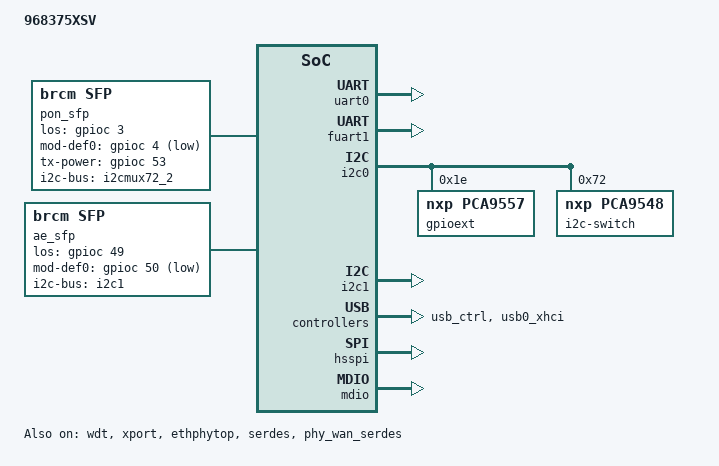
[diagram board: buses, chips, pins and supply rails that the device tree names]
#include "inc/68375.dtsi"
/ {
        memory_controller {
                memcfg = <(BP1_DDR_MCBSEL_FORMAT_VER1   | \
                           BP1_DDR_TYPE_LPDDR4         | \
                           BP1_DDR_SPEED_2133_36_39_39 | \
                           BP1_DDR_WIDTH_32BIT         | \
                           BP1_DDR_TOTAL_SIZE_16Gb      | \
                           BP1_DDR_SSC_CONFIG_1 )>;
        };
};

/ {
    model = "968375XSV";

    pon_sfp: pon_sfp {
        pinctrl-names = "default", "tx-sd";
        xpinctrl-0 = <&wan0_lbe_pin_30>;
        xpinctrl-1 = <&wan0_lbe_pin_30 &rogue_onu_in0_pin_27>;
        compatible = "brcm,sfp";
        i2c-bus = <&i2cmux72_2>;
        los-gpio = <&gpioc 3 GPIO_ACTIVE_HIGH>;
        mod-def0-gpio = <&gpioc 4 GPIO_ACTIVE_LOW>;
        tx-power-gpio = <&gpioc 53 GPIO_ACTIVE_HIGH>;
        //tx-power-down-gpio = <&gpioc 52 GPIO_ACTIVE_HIGH>;
        //rx-power-gpio = <&gpioc 6 GPIO_ACTIVE_HIGH>;
    };

    ae_sfp: ae_sfp {
        pinctrl-names = "default", "tx-sd";
        pinctrl-0 = <&wan1_lbe_pin_5>;
        pinctrl-1 = <&wan1_lbe_pin_5 &rogue_onu_in1_pin_26>;
        compatible = "brcm,sfp";
        i2c-bus = <&i2c1>;
        los-gpio = <&gpioc 49 GPIO_ACTIVE_HIGH>;
        mod-def0-gpio = <&gpioc 50 GPIO_ACTIVE_LOW>;
        //tx-power-gpio = <&gpioc 24 GPIO_ACTIVE_HIGH>;
        //tx-power-down-gpio = <&gpioc 23 GPIO_ACTIVE_HIGH>;
        //rx-power-gpio = <&gpioc 25 GPIO_ACTIVE_HIGH>;
    };

    wan_serdes {
        status = "okay";
        reg = <0>;
        trx = <&pon_sfp>;
    };

    wan_serdes1 {
        compatible = "brcm,pon-drv";
        reg = <1>;
        trx = <&ae_sfp>;
    };
};

&wdt {
    status = "okay";
};

&uart0 {
    status = "okay";
};

&fuart1 {
    pinctrl-0 = <&b_fuart1_cts_pin_14 &b_fuart1_rts_pin_15 &b_fuart1_sin_pin_16 &b_fuart1_sout_pin_17>;
    pinctrl-names = "default";
    status = "okay";
};

&i2c0 {
    pinctrl-0 = <&bsc_m0_scl_pin_28 &bsc_m0_sda_pin_29>;
    pinctrl-names = "default";
    status = "okay";

    gpioext: gpio@1e {
        compatible = "nxp,pca9557";
        reg = <0x1e>;
        #gpio-cells = <2>;
        gpio-controller;
        polarity = <0x00>;
    };

    i2c-switch@72 {
        compatible = "nxp,pca9548";
        #address-cells = <1>;
        #size-cells = <0>;
        reg = <0x72>;
        i2c-mux-idle-disconnect;

        i2cmux72_1: i2c1 {
            #address-cells = <1>;
            #size-cells = <0>;
            reg = <1>;
        };

        i2cmux72_2: i2c2 {
            #address-cells = <1>;
            #size-cells = <0>;
            reg = <2>;
        };
    };
};

&i2c1 {
    pinctrl-0 = <&b_bsc_m1_sda_pin_58 &b_bsc_m1_scl_pin_48>;
    pinctrl-names = "default";
    status = "okay";
};

&usb_ctrl {
    pinctrl-names = "default";
    pinctrl-0 = <&usb0_pwr_pins &usb1_pwr_pins>;
    xhci-enable;
    status = "okay";
};

&usb0_xhci {
    status = "okay";

    usb_port1: port1 {
        reg = <1>;
        #trigger-source-cells = <0>;
    };

    usb_port2: port2 {
        reg = <2>;
        #trigger-source-cells = <0>;
    };
};

&hsspi {
    status = "okay";
};


&xport {
    status = "okay";
};

&ethphytop {
    xphy0-enabled;
    xphy1-enabled;
    xphy2-enabled;
    xphy3-enabled;
    xphy4-enabled;
    status = "okay";
};

&serdes {
    status = "okay";
};

&mdio {
    status = "okay";
};

&mdio_bus {
    xphy0 {
        status = "okay";
    };
    xphy1 {
        status = "okay";
    };
    xphy2 {
        status = "okay";
    };
    xphy3 {
        status = "okay";
    };
    xphy4 {
        status = "okay";
    };
    serdes0 {
        10000-Base-R;
        5000-Base-R;
        2500-Base-X;
        1000-Base-X;
        status = "okay";
    };
    serdes1 {
        10000-Base-R;
        5000-Base-R;
        2500-Base-X;
        1000-Base-X;
        status = "okay";
    };
};

&phy_wan_serdes {
    status = "okay";
};

&switch0 {
    ports {
        port_xgphy0 {
            status = "okay";
        };
        port_xgphy1 {
            status = "okay";
        };
        port_xgphy2 {
            status = "okay";
        };
        port_xgphy3 {
            status = "okay";
        };
        port_xgphy4 {
            status = "okay";
        };
        port_slan1@slan_sd {
            status = "okay";
        };
        port_slan0@xpon_ae {
            status = "okay";
        };
        port_wan@xpon_ae {
            status = "okay";
        };
        port_wan@slan_sd {
            status = "okay";
        };
    };
};
